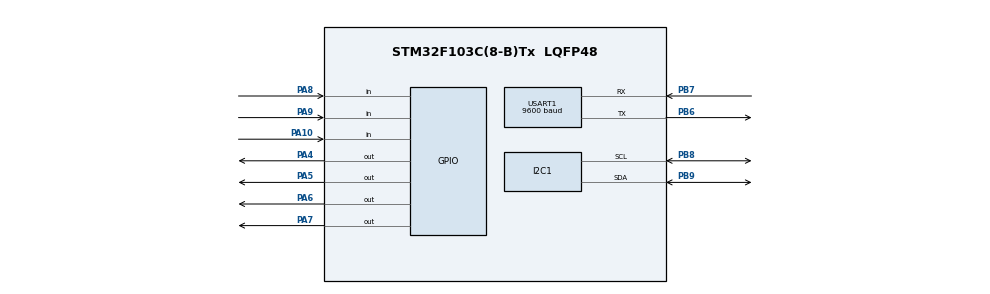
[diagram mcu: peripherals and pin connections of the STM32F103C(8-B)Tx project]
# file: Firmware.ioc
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I2C1.I2C_Mode=I2C_Fast
Mcu.Family=STM32F1
Mcu.Name=STM32F103C(8-B)Tx
Mcu.Package=LQFP48
NVIC.PriorityGroup=NVIC_PRIORITYGROUP_4
PA10.Signal=GPIO_Input
PA13.Mode=Serial_Wire
PA13.Signal=SYS_JTMS-SWDIO
PA14.Mode=Serial_Wire
PA14.Signal=SYS_JTCK-SWCLK
PA4.Signal=GPIO_Output
PA5.Signal=GPIO_Output
PA6.Signal=GPIO_Output
PA7.Signal=GPIO_Output
PA8.Signal=GPIO_Input
PA9.Signal=GPIO_Input
PB6.Mode=Asynchronous
PB6.Signal=USART1_TX
PB7.Mode=Asynchronous
PB7.Signal=USART1_RX
PB8.Mode=I2C
PB8.Signal=I2C1_SCL
PB9.Mode=I2C
PB9.Signal=I2C1_SDA
PD0-OSC_IN.Mode=HSE-External-Oscillator
PD0-OSC_IN.Signal=RCC_OSC_IN
PD1-OSC_OUT.Mode=HSE-External-Oscillator
PD1-OSC_OUT.Signal=RCC_OSC_OUT
ProjectManager.HeapSize=0x200
ProjectManager.StackSize=0x400
ProjectManager.TargetToolchain=EWARM V8.32
RCC.APB1Freq_Value=8000000
RCC.APB2Freq_Value=8000000
RCC.PLLSourceVirtual=RCC_PLLSOURCE_HSE
RCC.USBFreq_Value=16000000
USART1.BaudRate=9600
USART1.VirtualMode=VM_ASYNC
board=custom

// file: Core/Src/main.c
/* USER CODE BEGIN Header */
/**
  ******************************************************************************
  * @file           : main.c
  * @brief          : Main program body
  ******************************************************************************
  * @attention
  *
  * Copyright (c) 2023 STMicroelectronics.
  * All rights reserved.
  *
  * This software is licensed under terms that can be found in the LICENSE file
  * in the root directory of this software component.
  * If no LICENSE file comes with this software, it is provided AS-IS.
  *
  ******************************************************************************
  */
/* USER CODE END Header */
#include "main.h"

/* USER CODE BEGIN Includes */
#include "ssd1306.h"
#include "fonts.h"
#include "test.h"
#include <stdio.h>
#include "graphics.h"
/* USER CODE END Includes */

/* USER CODE BEGIN PD */
#define R1_PORT GPIOA
#define R1_PIN GPIO_PIN_4

#define R2_PORT GPIOA
#define R2_PIN GPIO_PIN_5

#define R3_PORT GPIOA
#define R3_PIN GPIO_PIN_6

#define R4_PORT GPIOA
#define R4_PIN GPIO_PIN_7

#define C1_PORT GPIOA
#define C1_PIN GPIO_PIN_8

#define C2_PORT GPIOA
#define C2_PIN GPIO_PIN_9

#define C3_PORT GPIOA
#define C3_PIN GPIO_PIN_10
/* USER CODE END PD */

I2C_HandleTypeDef hi2c1;

UART_HandleTypeDef huart1;

/* USER CODE BEGIN PV */
uint8_t key, len, row, str[2];
/* USER CODE END PV */

void SystemClock_Config(void);
static void MX_GPIO_Init(void);
static void MX_I2C1_Init(void);
static void MX_USART1_UART_Init(void);

/* USER CODE BEGIN 0 */
char read_keypad(void);

/* USER CODE END 0 */

int main(void)
{

  /* MCU Configuration--------------------------------------------------------*/

  /* Reset of all peripherals, Initializes the Flash interface and the Systick. */
  HAL_Init();

  /* Configure the system clock */
  SystemClock_Config();

  /* Initialize all configured peripherals */
  MX_GPIO_Init();
  MX_I2C1_Init();
  MX_USART1_UART_Init();
  /* USER CODE BEGIN 2 */
SSD1306_Init (); // initialize the display

SSD1306_GotoXY (0,0); // goto 10, 10
SSD1306_Puts ("About Me", &Font_7x10, 1); // print Hello
SSD1306_GotoXY (0,8); // goto 10, 10
SSD1306_Puts ("Hello World!", &Font_7x10, 1); // print Hello
SSD1306_GotoXY (0, 20);
SSD1306_Puts ("By: Soheil Nadernezhad", &Font_7x10, 1);
SSD1306_GotoXY (0, 30);
SSD1306_Puts ("Electronics Engineer", &Font_7x10, 1);
SSD1306_GotoXY (0, 40);
SSD1306_Puts ("www.soh3il.com", &Font_7x10, 1);
SSD1306_UpdateScreen(); // update screen
HAL_Delay(2000);
SSD1306_Clear();
SSD1306_DrawBitmap(0, 0, gard_logo, 128, 64, 1);
SSD1306_UpdateScreen(); // update screen
HAL_Delay(2000);
SSD1306_Clear();
SSD1306_GotoXY (0,0); // goto 10, 10

  /* USER CODE END 2 */

  /* Infinite loop */
  while (1)
  {
key = read_keypad();
if (key != 0)
  {
  SSD1306_Putc(key, &Font_7x10, 1);
  SSD1306_UpdateScreen(); // update screen
  len+=8;
  sprintf(str, "%c", key);
   HAL_UART_Transmit(&huart1, (uint8_t*) str, 1, 10);

  }
if(len >=128)
{
  len = 0;
  row += 10;
SSD1306_GotoXY (0,row); // goto 10, 10

}
  }
}

void SystemClock_Config(void)
{
  RCC_OscInitTypeDef RCC_OscInitStruct = {0};
  RCC_ClkInitTypeDef RCC_ClkInitStruct = {0};

  /** Initializes the RCC Oscillators according to the specified parameters
  * in the RCC_OscInitTypeDef structure.
  */
  RCC_OscInitStruct.OscillatorType = RCC_OSCILLATORTYPE_HSI;
  RCC_OscInitStruct.HSIState = RCC_HSI_ON;
  RCC_OscInitStruct.HSICalibrationValue = RCC_HSICALIBRATION_DEFAULT;
  RCC_OscInitStruct.PLL.PLLState = RCC_PLL_NONE;
  if (HAL_RCC_OscConfig(&RCC_OscInitStruct) != HAL_OK)
  {
    Error_Handler();
  }

  /** Initializes the CPU, AHB and APB buses clocks
  */
  RCC_ClkInitStruct.ClockType = RCC_CLOCKTYPE_HCLK|RCC_CLOCKTYPE_SYSCLK
                              |RCC_CLOCKTYPE_PCLK1|RCC_CLOCKTYPE_PCLK2;
  RCC_ClkInitStruct.SYSCLKSource = RCC_SYSCLKSOURCE_HSI;
  RCC_ClkInitStruct.AHBCLKDivider = RCC_SYSCLK_DIV1;
  RCC_ClkInitStruct.APB1CLKDivider = RCC_HCLK_DIV1;
  RCC_ClkInitStruct.APB2CLKDivider = RCC_HCLK_DIV1;

  if (HAL_RCC_ClockConfig(&RCC_ClkInitStruct, FLASH_LATENCY_0) != HAL_OK)
  {
    Error_Handler();
  }
}

static void MX_I2C1_Init(void)
{

  hi2c1.Instance = I2C1;
  hi2c1.Init.ClockSpeed = 400000;
  hi2c1.Init.DutyCycle = I2C_DUTYCYCLE_2;
  hi2c1.Init.OwnAddress1 = 0;
  hi2c1.Init.AddressingMode = I2C_ADDRESSINGMODE_7BIT;
  hi2c1.Init.DualAddressMode = I2C_DUALADDRESS_DISABLE;
  hi2c1.Init.OwnAddress2 = 0;
  hi2c1.Init.GeneralCallMode = I2C_GENERALCALL_DISABLE;
  hi2c1.Init.NoStretchMode = I2C_NOSTRETCH_DISABLE;
  if (HAL_I2C_Init(&hi2c1) != HAL_OK)
  {
    Error_Handler();
  }

}

static void MX_USART1_UART_Init(void)
{

  huart1.Instance = USART1;
  huart1.Init.BaudRate = 9600;
  huart1.Init.WordLength = UART_WORDLENGTH_8B;
  huart1.Init.StopBits = UART_STOPBITS_1;
  huart1.Init.Parity = UART_PARITY_NONE;
  huart1.Init.Mode = UART_MODE_TX_RX;
  huart1.Init.HwFlowCtl = UART_HWCONTROL_NONE;
  huart1.Init.OverSampling = UART_OVERSAMPLING_16;
  if (HAL_UART_Init(&huart1) != HAL_OK)
  {
    Error_Handler();
  }

}

static void MX_GPIO_Init(void)
{
  GPIO_InitTypeDef GPIO_InitStruct = {0};

  /* GPIO Ports Clock Enable */
  __HAL_RCC_GPIOD_CLK_ENABLE();
  __HAL_RCC_GPIOA_CLK_ENABLE();
  __HAL_RCC_GPIOB_CLK_ENABLE();

  /*Configure GPIO pin Output Level */
  HAL_GPIO_WritePin(GPIOA, GPIO_PIN_4|GPIO_PIN_5|GPIO_PIN_6|GPIO_PIN_7, GPIO_PIN_RESET);

  /*Configure GPIO pins : PA4 PA5 PA6 PA7 */
  GPIO_InitStruct.Pin = GPIO_PIN_4|GPIO_PIN_5|GPIO_PIN_6|GPIO_PIN_7;
  GPIO_InitStruct.Mode = GPIO_MODE_OUTPUT_PP;
  GPIO_InitStruct.Pull = GPIO_NOPULL;
  GPIO_InitStruct.Speed = GPIO_SPEED_FREQ_LOW;
  HAL_GPIO_Init(GPIOA, &GPIO_InitStruct);

  /*Configure GPIO pins : PA8 PA9 PA10 */
  GPIO_InitStruct.Pin = GPIO_PIN_8|GPIO_PIN_9|GPIO_PIN_10;
  GPIO_InitStruct.Mode = GPIO_MODE_INPUT;
  GPIO_InitStruct.Pull = GPIO_NOPULL;
  HAL_GPIO_Init(GPIOA, &GPIO_InitStruct);

}

/* USER CODE BEGIN 4 */
char read_keypad(void)
{
  HAL_GPIO_WritePin(R1_PORT, R1_PIN, GPIO_PIN_RESET);
  HAL_GPIO_WritePin(R2_PORT, R2_PIN, GPIO_PIN_SET);
  HAL_GPIO_WritePin(R3_PORT, R3_PIN, GPIO_PIN_SET);
  HAL_GPIO_WritePin(R4_PORT, R4_PIN, GPIO_PIN_SET);
  if(HAL_GPIO_ReadPin(C1_PORT, C1_PIN) == 0)
  {
    while(HAL_GPIO_ReadPin(C1_PORT, C1_PIN) == 0);
    return '1';
  }
  if(HAL_GPIO_ReadPin(C2_PORT, C2_PIN) == 0)
  {
    while(HAL_GPIO_ReadPin(C2_PORT, C2_PIN) == 0);
    return '2';
  }
  if(HAL_GPIO_ReadPin(C3_PORT, C3_PIN) == 0)
  {
    while(HAL_GPIO_ReadPin(C3_PORT, C3_PIN) == 0);
    return '3';
  }

  HAL_GPIO_WritePin(R1_PORT, R1_PIN, GPIO_PIN_SET);
  HAL_GPIO_WritePin(R2_PORT, R2_PIN, GPIO_PIN_RESET);
  HAL_GPIO_WritePin(R3_PORT, R3_PIN, GPIO_PIN_SET);
  HAL_GPIO_WritePin(R4_PORT, R4_PIN, GPIO_PIN_SET);
  if(HAL_GPIO_ReadPin(C1_PORT, C1_PIN) == 0)
  {
    while(HAL_GPIO_ReadPin(C1_PORT, C1_PIN) == 0);
    return '4';
  }
  if(HAL_GPIO_ReadPin(C2_PORT, C2_PIN) == 0)
  {
    while(HAL_GPIO_ReadPin(C2_PORT, C2_PIN) == 0);
    return '5';
  }
  if(HAL_GPIO_ReadPin(C3_PORT, C3_PIN) == 0)
  {
    while(HAL_GPIO_ReadPin(C3_PORT, C3_PIN) == 0);
    return '6';
  }

  HAL_GPIO_WritePin(R1_PORT, R1_PIN, GPIO_PIN_SET);
  HAL_GPIO_WritePin(R2_PORT, R2_PIN, GPIO_PIN_SET);
  HAL_GPIO_WritePin(R3_PORT, R3_PIN, GPIO_PIN_RESET);
  HAL_GPIO_WritePin(R4_PORT, R4_PIN, GPIO_PIN_SET);
  if(HAL_GPIO_ReadPin(C1_PORT, C1_PIN) == 0)
  {
    while(HAL_GPIO_ReadPin(C1_PORT, C1_PIN) == 0);
    return '7';
  }
  if(HAL_GPIO_ReadPin(C2_PORT, C2_PIN) == 0)
  {
    while(HAL_GPIO_ReadPin(C2_PORT, C2_PIN) == 0);
    return '8';
  }
  if(HAL_GPIO_ReadPin(C3_PORT, C3_PIN) == 0)
  {
    while(HAL_GPIO_ReadPin(C3_PORT, C3_PIN) == 0);
    return '9';
  }

  HAL_GPIO_WritePin(R1_PORT, R1_PIN, GPIO_PIN_SET);
  HAL_GPIO_WritePin(R2_PORT, R2_PIN, GPIO_PIN_SET);
  HAL_GPIO_WritePin(R3_PORT, R3_PIN, GPIO_PIN_SET);
  HAL_GPIO_WritePin(R4_PORT, R4_PIN, GPIO_PIN_RESET);
  if(HAL_GPIO_ReadPin(C1_PORT, C1_PIN) == 0)
  {
    while(HAL_GPIO_ReadPin(C1_PORT, C1_PIN) == 0);
    return 'A';
  }
  if(HAL_GPIO_ReadPin(C2_PORT, C2_PIN) == 0)
  {
    while(HAL_GPIO_ReadPin(C2_PORT, C2_PIN) == 0);
    return '0';
  }
  if(HAL_GPIO_ReadPin(C3_PORT, C3_PIN) == 0)
  {
    while(HAL_GPIO_ReadPin(C3_PORT, C3_PIN) == 0);
    return 'B';
  }
  else
    return 0;
}
/* USER CODE END 4 */

void Error_Handler(void)
{
  __disable_irq();
  while (1)
  {
  }
}
